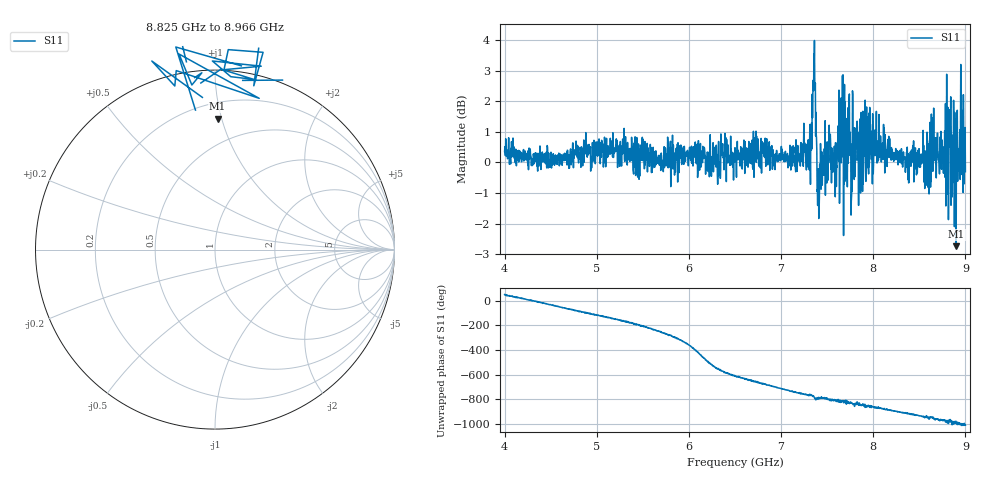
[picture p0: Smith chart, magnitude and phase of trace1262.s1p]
! Created with skrf 1.8.0 (http://scikit-rf.org).
# Hz S RI R 50.0
!freq ReS11 ImS11
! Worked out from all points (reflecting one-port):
!   1601 points, 4 GHz to 9 GHz, reference 50 ohm
!   lowest |S11| = -2.7 dB at 8.9 GHz (marker M1), VSWR 6.39, Z = 15.6 + j48.5 ohm
!   phase of S11 starts at 49 deg and turns -1058 deg over the sweep
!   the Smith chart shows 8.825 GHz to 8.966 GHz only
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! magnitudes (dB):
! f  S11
! 4 GHz  0.4
! 4.625 GHz  -0.1
! 5.25 GHz  -0.1
! 5.875 GHz  0.6
! 6.5 GHz  0.5
! 7.125 GHz  0.3
! 7.294 GHz  0.2
! 7.319 GHz  -0.7
! 7.356 GHz  3.6
! 7.369 GHz  2.4
! 7.4 GHz  -0.3
! 7.412 GHz  -1.7
! 7.525 GHz  0.7
! 7.588 GHz  -1.1
! 7.65 GHz  2.1
! 7.703 GHz  -0.2
! 7.731 GHz  0.2
! 7.75 GHz  1.0
! 7.784 GHz  0.0
! 7.8 GHz  -0.5
! 7.859 GHz  1.4
! 7.95 GHz  -0.4
! 8.375 GHz  0.3
! 8.581 GHz  -0.7
! 8.656 GHz  1.8
! 8.9 GHz  -2.7
! 8.972 GHz  0.6
! 9 GHz  -0.3
